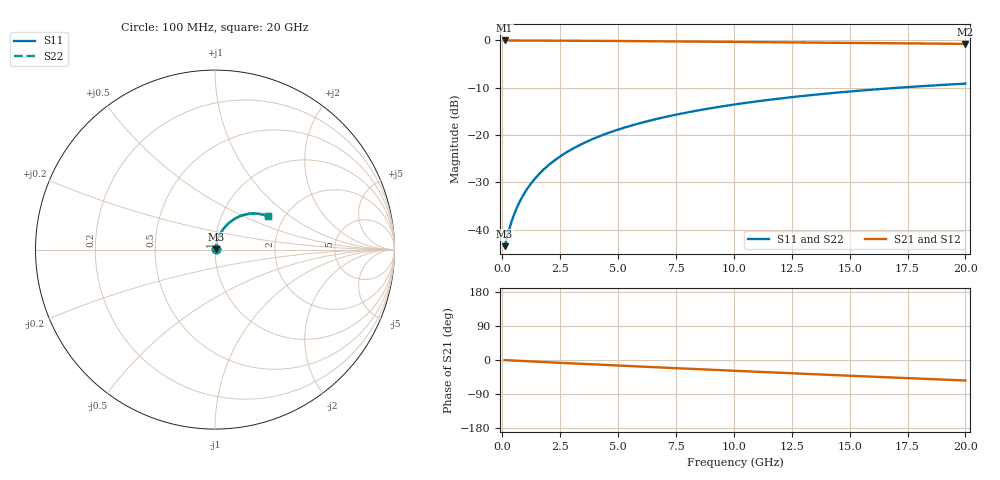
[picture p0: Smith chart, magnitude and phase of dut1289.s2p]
! Touchstone file exported from HFSS 2026.1.0
!  File:  C:/ffzhzh/LocalFiles/Ansys_Project_Files/temp_train_TMRDL_1289_1783164470_43440.aedt
!  Generated:  07:29:06 PM Jul  4, 2026
!  Design:  TMRDL
!  Project:  temp_train_TMRDL_1289_1783164470_43440
! Variables:
!  h_bsmrdl = 2um
!  h_ox = 20um
!  h_rdl = 5um
!  h_sub = 80um
!  h_tmrdl = 5.23um
!  h_tsv = 80um
!  h_via = 3um
!  l_bsmrdl = 300um
!  l_sub = 1332.23um
!  l_tmrdl = 932.23um
!  m_sub = 200um
!  pitch = 22.24um
!  r_tsv = 6um
!  s_tmrdl = 10um
!  w_bsmrdl = 18um
!  w_sub = 500um
!  w_tmrdl = 10.25um
!  x_tsv_center1 = 937.355um
!  x_tsv_center2 = 1255.355um
!  x_tsv_center3 = 2197.835um
!  x_tsv_center4 = 2515.835um
!  x_tsv_center5 = 3458.315um
!  x_tsv_center6 = 3776.315um
# GHz S MA R 50.000000
! Terminal data exported
! Port[1] = TM_RDL1_1_T1
! Port[2] = TM_RDL1_1_T2
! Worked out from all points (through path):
!   200 points, 100 MHz to 20 GHz, reference 50 ohm
!   highest |S21| = -0.05 dB at 100 MHz (marker M1); lowest = -0.8 dB at 20 GHz (marker M2)
!   group delay of S21, straight-line fit = 7.49 ps
!   lowest |S11| = -43.5 dB at 100 MHz (marker M3), VSWR 1.01, Z = 50.6 + j0.266 ohm
!   |S11| at or under -10 dB: start of sweep to 17.2 GHz
!   |S22| runs from -43.5 to -9.2 dB; largest |S21 - S12| = 1e-14
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0.1  0.006693 23.2  0.9939 -0.3  0.9939 -0.3  0.006693 23.2
! Gamma 0 0 0 0
! Port Impedance 50 0 50 0
0.3  0.01011 48.9  0.9934 -0.9  0.9934 -0.9  0.01012 48.9
0.4  0.01216 55.2  0.9932 -1.2  0.9932 -1.2  0.01216 55.2
0.6  0.01641 62.8  0.9929 -1.8  0.9929 -1.8  0.01641 62.8
0.7  0.01859 65.3  0.9927 -2.1  0.9927 -2.1  0.01859 65.3
0.9  0.02301 68.7  0.9924 -2.7  0.9924 -2.7  0.02301 68.7
1.2  0.02977 71.6  0.992 -3.6  0.992 -3.6  0.02977 71.6
1.4  0.03432 72.7  0.9916 -4.2  0.9916 -4.2  0.03432 72.7
1.7  0.04117 73.6  0.9911 -5.1  0.9911 -5.1  0.04117 73.6
2.2  0.05257 74.0  0.99 -6.5  0.99 -6.5  0.05257 74.0
2.8  0.06612 73.6  0.9885 -8.3  0.9885 -8.3  0.06612 73.5
3.5  0.08166 72.4  0.9863 -10.3  0.9863 -10.3  0.08166 72.4
4.2  0.09685 70.9  0.984 -12.3  0.984 -12.3  0.09685 70.9
5  0.1138 69.1  0.981 -14.6  0.981 -14.6  0.1138 69.0
5.9  0.1322 66.9  0.9774 -17.1  0.9774 -17.1  0.1322 66.8
6.8  0.1501 64.6  0.9737 -19.7  0.9737 -19.7  0.1501 64.6
8.3  0.1786 60.9  0.9672 -23.8  0.9672 -23.8  0.1786 60.8
10.1  0.2108 56.4  0.9591 -28.7  0.9591 -28.7  0.2109 56.3
11.7  0.2377 52.4  0.9517 -32.9  0.9517 -32.9  0.2377 52.3
13.4  0.2642 48.3  0.9438 -37.4  0.9438 -37.4  0.2643 48.1
16.7  0.31 40.3  0.9286 -45.9  0.9286 -45.9  0.3101 40.1
20  0.3479 32.5  0.9145 -54.1  0.9145 -54.1  0.348 32.3
